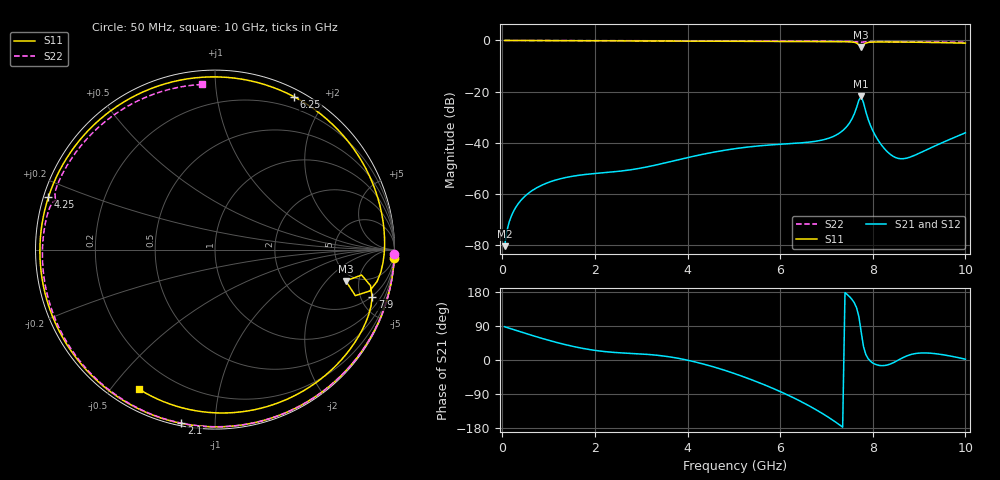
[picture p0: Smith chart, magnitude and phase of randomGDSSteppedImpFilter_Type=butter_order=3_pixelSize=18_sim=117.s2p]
! freq	dB(S11)	phase(S11)	dB(S12)	phase(S12)
!  dB(S21)	phase(S21)	dB(S22)	phase(S22)
!S-par simulation data
#  GHz  S  DB  R 50
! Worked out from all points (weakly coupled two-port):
!   200 points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, 50 MHz to 10 GHz, reference 50 ohm
!   highest |S21| = -21.92 dB at 7.75 GHz (marker M1); lowest = -80.5 dB at 50 MHz (marker M2)
!   lowest |S11| = -2.5 dB at 7.75 GHz (marker M3), VSWR 6.97, Z = 211 - j167 ohm
!   |S11| at or under -10 dB: nowhere
!   |S22| runs from -0.7 to 0.0 dB; largest |S21 - S12| = 0
!   S11 on the Smith chart (normalised r, x): 50 MHz: 0, -45; 2.1 GHz: 0.01, -0.82; 4.25 GHz: 0.01, +0.15; 6.25 GHz: 0.08, +1.64; 7.9 GHz: 1.95, -6.22; 10 GHz: 0.08, -0.59
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0.05  -0.00 -2.5  -80.51 87.8  -80.51 87.8  -0.00 -1.5
0.2  -0.01 -10.0  -68.51 82.0  -68.51 82.0  -0.01 -5.9
0.5  -0.03 -24.9  -60.78 70.3  -60.78 70.3  -0.02 -14.7
1.15  -0.07 -56.7  -54.64 47.1  -54.64 47.1  -0.04 -33.6
1.75  -0.10 -85.0  -52.54 30.4  -52.54 30.4  -0.06 -50.5
2.1  -0.12 -101.0  -51.91 23.8  -51.91 23.8  -0.07 -60.1
2.7  -0.15 -127.9  -50.80 17.9  -50.80 17.9  -0.09 -76.0
3.4  -0.19 -159.0  -48.41 11.7  -48.41 11.7  -0.12 -93.9
4.25  -0.24 162.5  -44.85 -7.7  -44.85 -7.7  -0.15 -114.5
5.05  -0.29 124.2  -42.29 -37.3  -42.29 -37.3  -0.19 -133.3
5.65  -0.33 93.9  -41.09 -65.0  -41.09 -65.0  -0.23 -147.2
6.25  -0.36 62.6  -40.33 -97.4  -40.33 -97.4  -0.27 -161.1
6.7  -0.39 38.7  -39.62 -126.1  -39.62 -126.1  -0.31 -171.7
7.4  -0.49 1.3  -34.46 177.9  -34.46 177.9  -0.39 171.0
7.65  -0.99 -15.0  -26.29 138.0  -26.29 138.0  -0.50 164.1
7.75  -2.51 -13.5  -21.92 73.6  -21.92 73.6  -0.72 162.7
7.9  -0.78 -16.7  -30.83 3.6  -30.83 3.6  -0.47 159.3
8.1  -0.59 -28.5  -38.60 -13.2  -38.60 -13.2  -0.45 153.7
8.35  -0.59 -41.1  -44.15 -11.8  -44.15 -11.8  -0.48 146.7
8.65  -0.64 -55.4  -46.29 6.1  -46.29 6.1  -0.51 138.1
9.2  -0.76 -80.7  -42.47 18.4  -42.47 18.4  -0.58 121.5
10  -1.06 -118.4  -36.14 2.1  -36.14 2.1  -0.70 94.4
